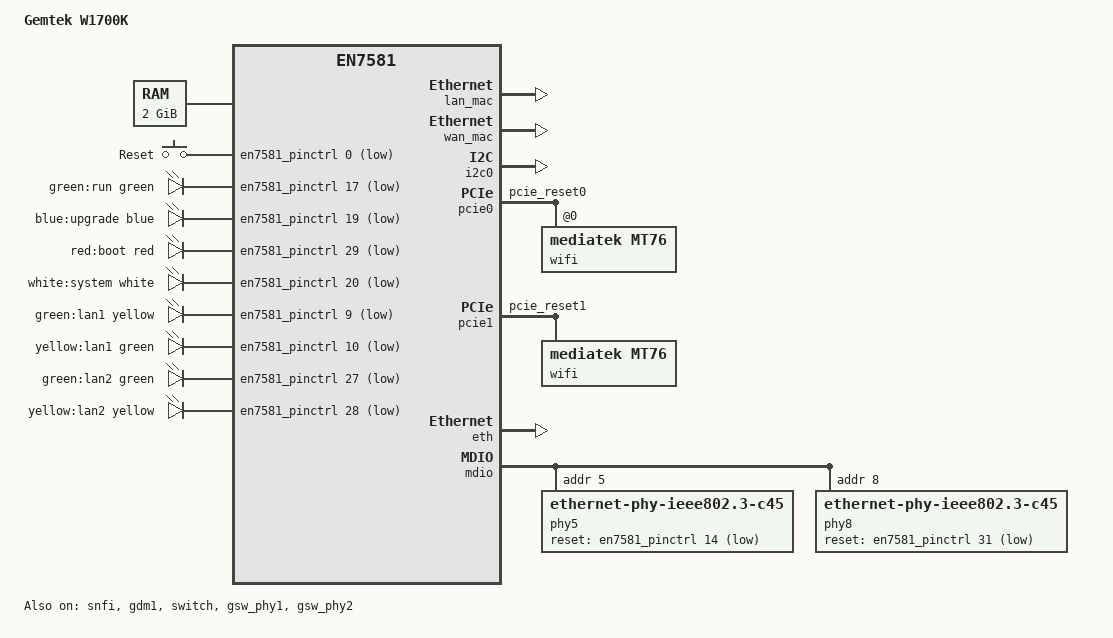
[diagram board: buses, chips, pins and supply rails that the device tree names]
// SPDX-License-Identifier: GPL-2.0-or-later OR MIT

/dts-v1/;

/* Bootloader installs ATF here */
/memreserve/ 0x80000000 0x200000;

#include <dt-bindings/leds/common.h>
#include <dt-bindings/gpio/gpio.h>
#include <dt-bindings/input/input.h>
#include "an7581.dtsi"

/ {
	model = "Gemtek W1700K";
	compatible = "gemtek,w1700k", "airoha,an7581", "airoha,en7581";

	aliases {
		serial0 = &uart1;
		led-boot = &led_status_red;
		led-failsafe = &led_status_blue;
		led-upgrade = &led_status_blue;
		led-running = &led_status_green;
	};

	chosen {
		bootargs = "console=ttyS0,115200 earlycon";
		stdout-path = "serial0:115200n8";
		linux,usable-memory-range = <0x0 0x80200000 0x0 0x7fe00000>;
	};

	memory@80000000 {
		device_type = "memory";
		reg = < 0x0 0x80000000 0x0 0x80000000>;
	};

	keys {
		compatible = "gpio-keys";

		key-restart {
			label = "Reset";
			gpios = <&en7581_pinctrl 0 GPIO_ACTIVE_LOW>;
			linux,code = <KEY_RESTART>;
		};
	};

	leds {
		compatible = "gpio-leds";

		led_status_green: led-0 {
			label = "green:run";
			color = <LED_COLOR_ID_GREEN>;
			function = LED_FUNCTION_STATUS;
			gpios = <&en7581_pinctrl 17 GPIO_ACTIVE_LOW>;
		};

		led_status_blue: led-1 {
			label = "blue:upgrade";
			color = <LED_COLOR_ID_BLUE>;
			function = LED_FUNCTION_STATUS;
			gpios = <&en7581_pinctrl 19 GPIO_ACTIVE_LOW>;
		};

		led_status_red: led-2 {
			label = "red:boot";
			color = <LED_COLOR_ID_RED>;
			function = LED_FUNCTION_STATUS;
			gpios = <&en7581_pinctrl 29 GPIO_ACTIVE_LOW>;
		};

		led_status_white: led-3 {
			label = "white:system";
			color = <LED_COLOR_ID_WHITE>;
			function = LED_FUNCTION_STATUS;
			gpios = <&en7581_pinctrl 20 GPIO_ACTIVE_LOW>;
		};

		led_lan1_green: led-4 {
			label = "green:lan1";
			color = <LED_COLOR_ID_YELLOW>;
			function = LED_FUNCTION_LAN;
			gpios = <&en7581_pinctrl 9 GPIO_ACTIVE_LOW>;
		};

		led_lan1_yellow: led-5 {
			label = "yellow:lan1";
			color = <LED_COLOR_ID_GREEN>;
			function = LED_FUNCTION_LAN;
			gpios = <&en7581_pinctrl 10 GPIO_ACTIVE_LOW>;
		};

		led_lan2_green: led-6 {
			label = "green:lan2";
			color = <LED_COLOR_ID_GREEN>;
			function = LED_FUNCTION_LAN;
			gpios = <&en7581_pinctrl 27 GPIO_ACTIVE_LOW>;
		};

		led_lan2_yellow: led-7 {
			label = "yellow:lan2";
			color = <LED_COLOR_ID_YELLOW>;
			funciton = LED_FUNCTION_LAN;
			gpios = <&en7581_pinctrl 28 GPIO_ACTIVE_LOW>;
		};
	};

	/*
	fan: pwm-fan {
		compatible = "pwm-fan";
		cooling-levels = <0 25 95 145 195 255>;
		fan-supply = <&vmmc_3v3>
		pinctrl-names = "default";
		pinctrl-0 = <&pwm_gpio17_idx10_pins>;
		interrupt-parent = <&gic>;
		interrupts = <???? IRQ_TYPE_EDGE_FALLING>;
		pwms = <&en7581_pwm 9 4000000 0>;
		#cooling-cells = <2>;
	};
	*/
};

/*
&trips {
	package_active1: trip-active1 {
		temperature = <45000>;
		hysteresis = <5000>;
		type = "active";
	};

	package_active2: trip-active2 {
		temperature = <50000>;
		hysteresis = <5000>;
		type = "active";
	};

	package_active3: trip-active3 {
		temperature = <60000>;
		hysteresis = <5000>;
		type = "active";
	};

	package_active4: trip-active4 {
		temperature = <70000>;
		hysteresis = <5000>;
		type = "active";
	};

	package_active5: trip-active5 {
		temperature = <80000>;
		hysteresis = <5000>;
		type = "active";
	};

	package_hot: trip-hot {
		temperature = <95000>;
		hysteresis = <5000>;
		type = "hot";
	};

	package_critical: trip-critical {
		temperature = <110000>;
		hysteresis = <5000>;
		type = "critical";
	};
};

&cooling-maps {
	map1 {
		trip = <&package_acive1>;
		cooling-device = <&fan 1 1>;
	};

	map2 {
		trip = <&package_acive2>;
		cooling-device = <&fan 2 2>;
	};

	map3 {
		trip = <&package_acive3>;
		cooling-device = <&fan 3 3>;
	};

	map4 {
		trip = <&package_acive4>;
		cooling-device = <&fan 4 4>;
	};

	map5 {
		trip = <&package_acive5>;
		cooling-device = <&fan 5 5>;
	};
};
*/

&en7581_pinctrl {
	//gpio-ranges = <&en7581_pinctrl 0 0 64>;
	gpio-ranges = <&en7581_pinctrl 0 13 47>;

	mdio_pins: mdio-pins {
		mux {
			function = "mdio";
			groups = "mdio";
		};

		conf {
			pins = "gpio2";
			output-high;
		};
	};

	pcie0_rst_pins: pcie0-rst-pins {
		conf {
			pins = "pcie_reset0";
			drive-open-drain = <1>;
		};
	};

	pcie1_rst_pins: pcie1-rst-pins {
		conf {
			pins = "pcie_reset1";
			drive-open-drain = <1>;
		};
	};

	pwm_gpio17_idx9_pins: pwm-gpio17-idx9-pins {
		function = "pwm";
		pins = "gpio17";
		output-enable;
	};
};

&snfi {
	status = "okay";
};

&spi_nand {
	partitions {
		compatible = "fixed-partitions";
		#address-cells = <1>;
		#size-cells = <1>;

		partition@0 {
			label = "bootloader";
			reg = <0x00000000 0x00200000>;
			read-only;
		};

		partition@200000 {
			label = "uenv";
			reg = <0x00200000 0x00200000>;
		};

		partition@400000 {
			label = "dsd";
			reg = <0x00400000 0x00200000>;
			read-only;

			nvmem-layout@0 {
				compatible = "ascii-eq-delim-env";
				#address-cells = <1>;
				#size-cells = <1>;

				lan_mac: lan_mac {
					compatible = "mac-base";
					#nvmem-cell-cells = <1>;
				};

				wan_mac: wan_mac {
					compatible = "mac-base";
					#nvmem-cell-cells = <1>;
				};
			};

			nvmem-layout@1000 {
				compatible = "fixed-layout";
				#address-cells = <1>;
				#size-cells = <1>;

				eeprom_factory_5000: eeprom@5000 {
					reg = <0x5000 0x1e00>;
				};
			};
		};

		partition@600000 {
			label = "kernel";
			reg = <0x00600000 0x01000000>;
		};

		partition@1600000 {
			label = "rootfs";
			reg = <0x01600000 0x1e800000>;
			compatible = "linux,ubi";
		};

		reserved_bmt@1fe00000 {
			label = "reserved_bmt";
			reg = <0x1fe00000 0x00200000>;
			read-only;
		};
	};
};

&i2c0 {
	status = "okay";
};

&pcie0 {
	status = "okay";

	pinctrl-names = "default";
	pinctrl-0 = <&pcie0_rst_pins>;

	pcie@0,0 {
		reg = <0x0000 0 0 0 0>;
		wifi@0,0 {
			compatible = "mediatek,mt76";
			reg = <0x0000 0 0 0 0>;
			airoha,eth = <&eth>;
		};
	};
};

&pcie1 {
	status = "okay";
	
	pinctrl-names = "default";
	pinctrl-0 = <&pcie1_rst_pins>;

	pcie@1,0 {
		reg = <0x0000 0 0 0 0>;
		wifi@1,0 {
			compatible = "mediatek,mt76";
			regs = <0x0000 0 0 0 0>;
			airoha,eth = <&eth>;
		};
	};
};

&eth {
	status = "okay";
};

&gdm1 {
	status = "okay";

	nvmem-cells = <&lan_mac 0>;
	nvmem-cell-names = "mac-address";
};

/* TODO: re-enable once PCS driver is available.
&gdm2 {
	status = "okay";

	phy-handle = <&phy5>;
	phy-mode = "usxgmii";
	label = "wan";

	nvmem-cells = <&wan_mac 0>;
	nvmem-cell-names = "mac-address";

	fixed-link {
		speed = <10000>;
		full-duplex;
	};
};

&gdm4 {
	status = "okay";

	phy-handle = <&phy8>;
	phy-mode = "usxgmii";
	label = "10g-lan";

	nvmem-cells = <&lan_mac 0>;
	nvmem-cell-names = "mac-address";

	fixed-link {
		speed = <10000>;
		full-duplex;
	};
};
*/

&switch {
	status = "okay";

	pinctrl-names = "default";
	pinctrl-0 = <&mdio_pins>;

	mdio {
		phy5: ethernet-phy@5 {
			compatible = "ethernet-phy-ieee802.3-c45";
			reg = <5>;
			reset-gpios = <&en7581_pinctrl 14 GPIO_ACTIVE_LOW>;
		};

		phy8: ethernet-phy@8 {
			compatible = "ethernet-phy-ieee802.3-c45";
			reg = <8>;
			reset-gpios = <&en7581_pinctrl 31 GPIO_ACTIVE_LOW>;
		};
	};
};

&gsw_phy1 {
	status = "okay";
};

&gsw_phy2 {
	status = "okay";
};

&gsw_port3 {
	status = "disabled";
};

&gsw_port4 {
	status = "disabled";
};
